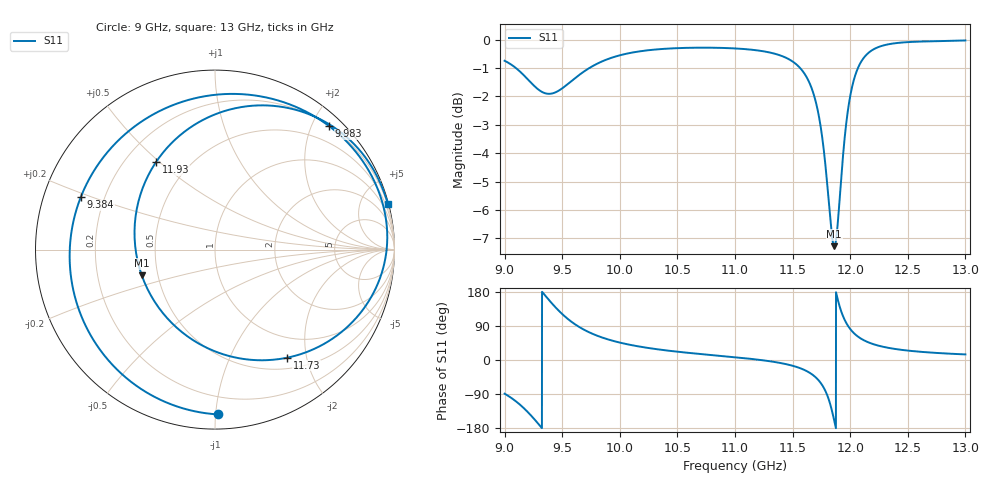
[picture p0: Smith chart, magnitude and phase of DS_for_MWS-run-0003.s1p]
! TOUCHSTONE file generated by CST DESIGN STUDIO
! Date and time: Tue Feb  4 17:57:24 2025
! Project name: C:\Work\MatlabApps\UnitCellOptimizationMatlab\CST\unitcell.cst
! Tree item: Tasks\Sweep1\SPara1\S-Parameters
! Header version: 2024
! Port assignment regex: !\s*Touchstone port\s*([0-9]+)\s*=\s*(CST MWS port|CST DES external port|CST DES block port)\s*(.+)\s* \(\"(.*)\"\)(\s*mode\s*([0-9]+))?.*
! Touchstone port assignment:
! Touchstone port 1 = CST DES external port 1 ("")
# GHz S MA R 50
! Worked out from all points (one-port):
!   4001 points, 9 GHz to 13 GHz, reference 50 ohm
!   lowest |S11| = -7.3 dB at 11.86 GHz (marker M1), VSWR 2.52, Z = 20.3 - j7.12 ohm
!   |S11| at or under -10 dB: nowhere
!   S11 on the Smith chart (normalised r, x): 9 GHz: 0.09, -1.02; 9.384 GHz: 0.11, +0.19; 9.983 GHz: 0.20, +2.27; 11.73 GHz: 0.66, -1.67; 11.93 GHz: 0.33, +0.49; 13 GHz: 0.08, +7.75
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9  0.9184 -88.9
9.094  0.893 -108.1
9.176  0.8621 -129.8
9.285  0.8196 -165.6
9.384  0.8029 158.6
9.5  0.8211 121.3
9.579  0.8453 101.2
9.671  0.874 83.0
9.816  0.9101 62.7
9.983  0.937 47.2
10  0.939 45.9
10.5  0.9667 21.9
11  0.9656 7.3
11.5  0.9157 -15.2
11.638  0.8467 -31.9
11.733  0.7242 -56.2
11.803  0.549 -94.8
11.832  0.4703 -122.5
11.862  0.4325 -160.7
11.893  0.4772 158.4
11.927  0.5877 124.1
11.962  0.7019 99.9
12  0.7954 81.9
12.078  0.9015 59.5
12.174  0.9538 44.6
12.306  0.9795 33.6
12.5  0.9907 24.8
13  0.9974 14.7
